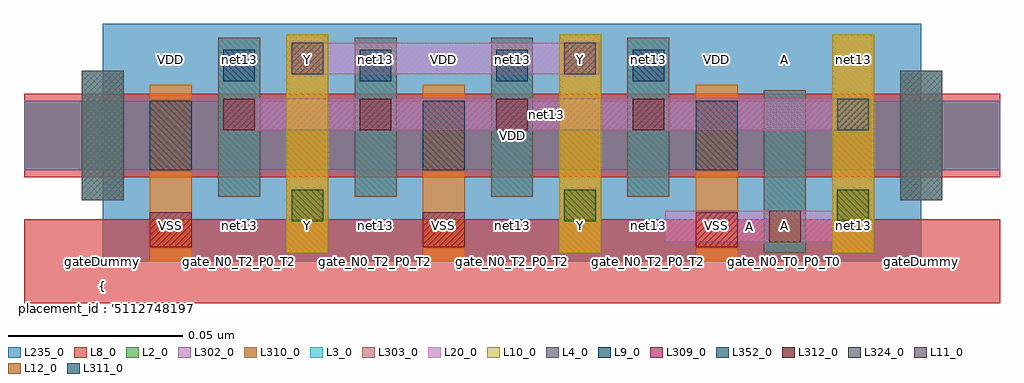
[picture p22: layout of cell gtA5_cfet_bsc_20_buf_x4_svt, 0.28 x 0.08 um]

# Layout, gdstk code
import gdstk
lib = gdstk.Library(unit=1e-6, precision=2.5e-10)
def R(c, l, rs):  # rectangles x0, y0, x1, y1
    for r in rs: c.add(gdstk.rectangle(r[:2], r[2:], *l))
def A(c, l, x, y, w, h, nx, ny, dx, dy):  # array of equal rectangles
    R(c, l, [(x+i*dx, y+j*dy, x+i*dx+w, y+j*dy+h) for i in range(nx) for j in range(ny)])
L2_0 = (2, 0)
L3_0 = (3, 0)
L4_0 = (4, 0)
L8_0 = (8, 0)
L9_0 = (9, 0)
L10_0 = (10, 0)
L11_0 = (11, 0)
L12_0 = (12, 0)
L20_0 = (20, 0)
L235_0 = (235, 0)
L302_0 = (302, 0)
L303_0 = (303, 0)
L309_0 = (309, 0)
L310_0 = (310, 0)
L311_0 = (311, 0)
L312_0 = (312, 0)
L324_0 = (324, 0)
L352_0 = (352, 0)

gta5_cfet_bsc_20_buf_x4_ = lib.new_cell('gtA5_cfet_bsc_20_buf_x4_svt')
R(gta5_cfet_bsc_20_buf_x4_, L2_0, [(-0.0225,0.026,0.2565,0.046)])
A(gta5_cfet_bsc_20_buf_x4_, L3_0, 0.033, 0.0185, 0.012, 0.0455, 4, 1, 0.039, 0)
R(gta5_cfet_bsc_20_buf_x4_, L3_0, [(0.189,0.0025,0.201,0.049), (-0.006,0.0175,0.006,0.0545), (0.228,0.0175,0.24,0.0545)])
R(gta5_cfet_bsc_20_buf_x4_, L4_0, [(-0.006,0.0175,0.006,0.0545), (0.228,0.0175,0.24,0.0545)])
R(gta5_cfet_bsc_20_buf_x4_, L8_0, [(-0.0225,-0.012,0.2565,0.012), (-0.0225,0.024,0.2565,0.048)])
A(gta5_cfet_bsc_20_buf_x4_, L9_0, 0.0135, 0.026, 0.012, 0.02, 3, 1, 0.078, 0)
A(gta5_cfet_bsc_20_buf_x4_, L10_0, 0.0525, 0.0025, 0.012, 0.0625, 3, 1, 0.078, 0)
R(gta5_cfet_bsc_20_buf_x4_, L11_0, [(0.054,0.0535,0.063,0.0625), (0.132,0.0535,0.141,0.0625)])
R(gta5_cfet_bsc_20_buf_x4_, L12_0, [(0.1905,0.0055,0.1995,0.0145)])
R(gta5_cfet_bsc_20_buf_x4_, L20_0, [(0.1608,0.0055,0.2087,0.0145), (0.0345,0.0375,0.219,0.0465), (0.054,0.0535,0.142,0.0625)])
R(gta5_cfet_bsc_20_buf_x4_, L235_0, [(0,0,0.234,0.068)])
R(gta5_cfet_bsc_20_buf_x4_, L302_0, [(-0.0225,0.026,0.2565,0.046)])
A(gta5_cfet_bsc_20_buf_x4_, L303_0, 0.033, 0.0185, 0.012, 0.0455, 4, 1, 0.039, 0)
R(gta5_cfet_bsc_20_buf_x4_, L303_0, [(0.189,0.0025,0.201,0.049), (-0.006,0.0175,0.006,0.0545), (0.228,0.0175,0.24,0.0545)])
A(gta5_cfet_bsc_20_buf_x4_, L309_0, 0.0135, 0.004, 0.012, 0.01, 3, 1, 0.078, 0)
A(gta5_cfet_bsc_20_buf_x4_, L310_0, 0.0135, 0, 0.012, 0.0505, 3, 1, 0.078, 0)
A(gta5_cfet_bsc_20_buf_x4_, L310_0, 0.0525, 0.0025, 0.012, 0.0625, 3, 1, 0.078, 0)
R(gta5_cfet_bsc_20_buf_x4_, L311_0, [(0.21,0.0375,0.219,0.0465)])
A(gta5_cfet_bsc_20_buf_x4_, L312_0, 0.0345, 0.0375, 0.009, 0.009, 4, 1, 0.039, 0)
A(gta5_cfet_bsc_20_buf_x4_, L324_0, 0.054, 0.0115, 0.009, 0.009, 3, 1, 0.078, 0)
A(gta5_cfet_bsc_20_buf_x4_, L352_0, 0.0345, 0.0515, 0.009, 0.009, 4, 1, 0.039, 0)
gta5_cfet_bsc_20_buf_x4_.add(gdstk.Label('net13', (0.1268,0.042), layer=100, texttype=100))
gta5_cfet_bsc_20_buf_x4_.add(gdstk.Label('gateDummy', (0,0), layer=103, texttype=103))
gta5_cfet_bsc_20_buf_x4_.add(gdstk.Label('sd_N0_VSS_P0_VDD', (0.0195,0), layer=103, texttype=103))
gta5_cfet_bsc_20_buf_x4_.add(gdstk.Label('gate_N0_T2_P0_T2', (0.039,0), layer=103, texttype=103))
gta5_cfet_bsc_20_buf_x4_.add(gdstk.Label('sd_N0_T3_P0_T3', (0.0585,0), layer=103, texttype=103))
gta5_cfet_bsc_20_buf_x4_.add(gdstk.Label('gate_N0_T2_P0_T2', (0.078,0), layer=103, texttype=103))
gta5_cfet_bsc_20_buf_x4_.add(gdstk.Label('sd_N0_VSS_P0_VDD', (0.0975,0), layer=103, texttype=103))
gta5_cfet_bsc_20_buf_x4_.add(gdstk.Label('gate_N0_T2_P0_T2', (0.117,0), layer=103, texttype=103))
gta5_cfet_bsc_20_buf_x4_.add(gdstk.Label('sd_N0_T3_P0_T3', (0.1365,0), layer=103, texttype=103))
gta5_cfet_bsc_20_buf_x4_.add(gdstk.Label('gate_N0_T2_P0_T2', (0.156,0), layer=103, texttype=103))
gta5_cfet_bsc_20_buf_x4_.add(gdstk.Label('sd_N0_VSS_P0_VDD', (0.1755,0), layer=103, texttype=103))
gta5_cfet_bsc_20_buf_x4_.add(gdstk.Label('gate_N0_T0_P0_T0', (0.195,0), layer=103, texttype=103))
gta5_cfet_bsc_20_buf_x4_.add(gdstk.Label('sd_N0_T2_P0_T2', (0.2145,0), layer=103, texttype=103))
gta5_cfet_bsc_20_buf_x4_.add(gdstk.Label('gateDummy', (0.234,0), layer=103, texttype=103))
gta5_cfet_bsc_20_buf_x4_.add(gdstk.Label('}', (0,-0.0742), layer=104, texttype=104))
gta5_cfet_bsc_20_buf_x4_.add(gdstk.Label('  power : None', (0,-0.0675), layer=104, texttype=104))
gta5_cfet_bsc_20_buf_x4_.add(gdstk.Label('  performance : None', (0,-0.0607), layer=104, texttype=104))
gta5_cfet_bsc_20_buf_x4_.add(gdstk.Label("  solution_hash : '17154041231648522995'", (0,-0.054), layer=104, texttype=104))
gta5_cfet_bsc_20_buf_x4_.add(gdstk.Label('  number_m2 : 0', (0,-0.0473), layer=104, texttype=104))
gta5_cfet_bsc_20_buf_x4_.add(gdstk.Label('  number_m1 : 0', (0,-0.0405), layer=104, texttype=104))
gta5_cfet_bsc_20_buf_x4_.add(gdstk.Label('  number_m0cuts : 0', (0,-0.0338), layer=104, texttype=104))
gta5_cfet_bsc_20_buf_x4_.add(gdstk.Label('  number_m0 : 3', (0,-0.027), layer=104, texttype=104))
gta5_cfet_bsc_20_buf_x4_.add(gdstk.Label("  solution_number : '0000'", (0,-0.0203), layer=104, texttype=104))
gta5_cfet_bsc_20_buf_x4_.add(gdstk.Label("  placement_id : '5112748197126580834'", (0,-0.0135), layer=104, texttype=104))
gta5_cfet_bsc_20_buf_x4_.add(gdstk.Label('{', (0,-0.0067), layer=104, texttype=104))
gta5_cfet_bsc_20_buf_x4_.add(gdstk.Label('VSS', (0.0195,0.0103), layer=105, texttype=105))
gta5_cfet_bsc_20_buf_x4_.add(gdstk.Label('net13', (0.039,0.0103), layer=105, texttype=105))
gta5_cfet_bsc_20_buf_x4_.add(gdstk.Label('Y', (0.0585,0.0103), layer=105, texttype=105))
gta5_cfet_bsc_20_buf_x4_.add(gdstk.Label('net13', (0.078,0.0103), layer=105, texttype=105))
gta5_cfet_bsc_20_buf_x4_.add(gdstk.Label('VSS', (0.0975,0.0103), layer=105, texttype=105))
gta5_cfet_bsc_20_buf_x4_.add(gdstk.Label('net13', (0.117,0.0103), layer=105, texttype=105))
gta5_cfet_bsc_20_buf_x4_.add(gdstk.Label('Y', (0.1365,0.0103), layer=105, texttype=105))
gta5_cfet_bsc_20_buf_x4_.add(gdstk.Label('net13', (0.156,0.0103), layer=105, texttype=105))
gta5_cfet_bsc_20_buf_x4_.add(gdstk.Label('VSS', (0.1755,0.0103), layer=105, texttype=105))
gta5_cfet_bsc_20_buf_x4_.add(gdstk.Label('A', (0.195,0.0103), layer=105, texttype=105))
gta5_cfet_bsc_20_buf_x4_.add(gdstk.Label('net13', (0.2145,0.0103), layer=105, texttype=105))
gta5_cfet_bsc_20_buf_x4_.add(gdstk.Label('VDD', (0.0195,0.0578), layer=105, texttype=105))
gta5_cfet_bsc_20_buf_x4_.add(gdstk.Label('net13', (0.039,0.0578), layer=105, texttype=105))
gta5_cfet_bsc_20_buf_x4_.add(gdstk.Label('Y', (0.0585,0.0578), layer=105, texttype=105))
gta5_cfet_bsc_20_buf_x4_.add(gdstk.Label('net13', (0.078,0.0578), layer=105, texttype=105))
gta5_cfet_bsc_20_buf_x4_.add(gdstk.Label('VDD', (0.0975,0.0578), layer=105, texttype=105))
gta5_cfet_bsc_20_buf_x4_.add(gdstk.Label('net13', (0.117,0.0578), layer=105, texttype=105))
gta5_cfet_bsc_20_buf_x4_.add(gdstk.Label('Y', (0.1365,0.0578), layer=105, texttype=105))
gta5_cfet_bsc_20_buf_x4_.add(gdstk.Label('net13', (0.156,0.0578), layer=105, texttype=105))
gta5_cfet_bsc_20_buf_x4_.add(gdstk.Label('VDD', (0.1755,0.0578), layer=105, texttype=105))
gta5_cfet_bsc_20_buf_x4_.add(gdstk.Label('A', (0.195,0.0578), layer=105, texttype=105))
gta5_cfet_bsc_20_buf_x4_.add(gdstk.Label('net13', (0.2145,0.0578), layer=105, texttype=105))
gta5_cfet_bsc_20_buf_x4_.add(gdstk.Label('VSS', (0.117,0), layer=8, texttype=0))
gta5_cfet_bsc_20_buf_x4_.add(gdstk.Label('VDD', (0.117,0.036), layer=8, texttype=0))
gta5_cfet_bsc_20_buf_x4_.add(gdstk.Label('A', (0.1847,0.01), layer=20, texttype=251))
gta5_cfet_bsc_20_buf_x4_.add(gdstk.Label('Y', (0.098,0.058), layer=20, texttype=251))
gta5_cfet_bsc_20_buf_x4_.add(gdstk.Label('gtA5_cfet_bsc_20nm_buf_x4_rvt_0', (0,0), layer=235, texttype=0))

lib.write_gds('gtA5_cfet_bsc_20_buf_x4_svt.gds')
